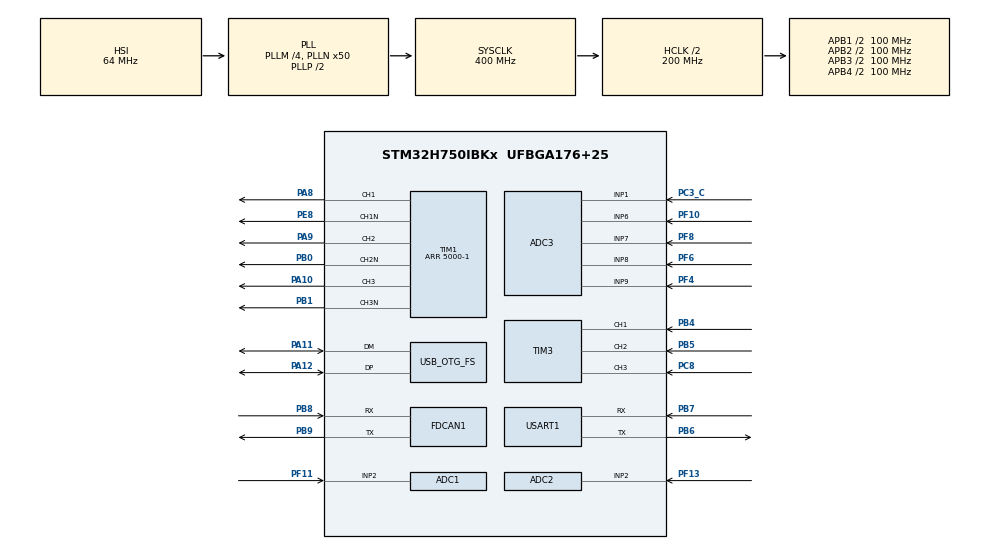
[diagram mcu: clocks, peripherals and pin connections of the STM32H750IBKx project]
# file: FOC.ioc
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ADC1.Channel-1\#ChannelRegularConversion=ADC_CHANNEL_2
ADC1.ClockPrescaler=ADC_CLOCK_ASYNC_DIV4
ADC1.NbrOfConversionFlag=1
ADC1.OffsetNumber-1\#ChannelRegularConversion=ADC_OFFSET_NONE
ADC1.OffsetSignedSaturation-1\#ChannelRegularConversion=DISABLE
ADC1.Rank-1\#ChannelRegularConversion=1
ADC1.SamplingTime-1\#ChannelRegularConversion=ADC_SAMPLETIME_1CYCLE_5
ADC1.master=1
ADC2.Channel-1\#ChannelRegularConversion=ADC_CHANNEL_2
ADC2.ClockPrescaler=ADC_CLOCK_ASYNC_DIV4
ADC2.NbrOfConversionFlag=1
ADC2.OffsetNumber-1\#ChannelRegularConversion=ADC_OFFSET_NONE
ADC2.OffsetSignedSaturation-1\#ChannelRegularConversion=DISABLE
ADC2.Rank-1\#ChannelRegularConversion=1
ADC2.SamplingTime-1\#ChannelRegularConversion=ADC_SAMPLETIME_1CYCLE_5
ADC3.Channel-1\#ChannelRegularConversion=ADC_CHANNEL_6
ADC3.ClockPrescaler=ADC_CLOCK_ASYNC_DIV4
ADC3.NbrOfConversionFlag=1
ADC3.OffsetNumber-1\#ChannelRegularConversion=ADC_OFFSET_NONE
ADC3.OffsetSignedSaturation-1\#ChannelRegularConversion=DISABLE
ADC3.Rank-1\#ChannelRegularConversion=1
ADC3.SamplingTime-1\#ChannelRegularConversion=ADC_SAMPLETIME_1CYCLE_5
CORTEX_M7.default_mode_Activation=1
DFSDM1.Filter_injChannel0_FIL0=DFSDM_CHANNEL_0
FDCAN1.CalculateBaudRateNominal=2083333
FDCAN1.CalculateTimeBitNominal=480
FDCAN1.CalculateTimeQuantumNominal=160.0
Mcu.Family=STM32H7
Mcu.Name=STM32H750IBKx
Mcu.Package=UFBGA176+25
NVIC.PriorityGroup=NVIC_PRIORITYGROUP_4
NVIC.TIM1_UP_IRQn=true\:1\:0\:true\:false\:true\:true\:true\:true
NVIC.TIM3_IRQn=true\:3\:0\:true\:false\:true\:true\:true\:true
NVIC.USART1_IRQn=true\:3\:0\:true\:false\:true\:true\:true\:true
PA10.Signal=S_TIM1_CH3
PA11.Mode=Device_Only
PA11.Signal=USB_OTG_FS_DM
PA12.Mode=Device_Only
PA12.Signal=USB_OTG_FS_DP
PA13\ (JTMS/SWDIO).Mode=Trace_Asynchronous_SW
PA13\ (JTMS/SWDIO).Signal=DEBUG_JTMS-SWDIO
PA14\ (JTCK/SWCLK).Mode=Trace_Asynchronous_SW
PA14\ (JTCK/SWCLK).Signal=DEBUG_JTCK-SWCLK
PA8.Signal=S_TIM1_CH1
PA9.Signal=S_TIM1_CH2
PB0.Mode=PWM Generation2 CH2 CH2N
PB0.Signal=TIM1_CH2N
PB1.Mode=PWM Generation3 CH3 CH3N
PB1.Signal=TIM1_CH3N
PB3\ (JTDO/TRACESWO).Mode=Trace_Asynchronous_SW
PB3\ (JTDO/TRACESWO).Signal=DEBUG_JTDO-SWO
PB4\ (NJTRST).Signal=S_TIM3_CH1
PB5.Signal=S_TIM3_CH2
PB6.Mode=Asynchronous
PB6.Signal=USART1_TX
PB7.Mode=Asynchronous
PB7.Signal=USART1_RX
PB8.Mode=FDCAN_Activate
PB8.Signal=FDCAN1_RX
PB9.Mode=FDCAN_Activate
PB9.Signal=FDCAN1_TX
PC3_C.Mode=IN1-Single-Ended
PC3_C.Signal=ADC3_INP1
PC8.Signal=S_TIM3_CH3
PE8.Mode=PWM Generation1 CH1 CH1N
PE8.Signal=TIM1_CH1N
PF10.Mode=IN6-Single-Ended
PF10.Signal=ADC3_INP6
PF11.Mode=IN2-Single-Ended
PF11.Signal=ADC1_INP2
PF13.Mode=IN2-Single-Ended
PF13.Signal=ADC2_INP2
PF4.Mode=IN9-Single-Ended
PF4.Signal=ADC3_INP9
PF6.Mode=IN8-Single-Ended
PF6.Signal=ADC3_INP8
PF8.Mode=IN7-Single-Ended
PF8.Signal=ADC3_INP7
PH0-OSC_IN\ (PH0).Mode=HSE-External-Oscillator
PH0-OSC_IN\ (PH0).Signal=RCC_OSC_IN
PH1-OSC_OUT\ (PH1).Mode=HSE-External-Oscillator
PH1-OSC_OUT\ (PH1).Signal=RCC_OSC_OUT
ProjectManager.HeapSize=0x200
ProjectManager.StackSize=0x400
ProjectManager.TargetToolchain=CMake
RCC.ADCFreq_Value=80000000
RCC.APB1Freq_Value=100000000
RCC.APB2Freq_Value=100000000
RCC.APB3Freq_Value=100000000
RCC.APB4Freq_Value=100000000
RCC.CortexFreq_Value=400000000
RCC.D1PPRE=RCC_APB3_DIV2
RCC.D2PPRE1=RCC_APB1_DIV2
RCC.D2PPRE2=RCC_APB2_DIV2
RCC.D3PPRE=RCC_APB4_DIV2
RCC.DIVM1=4
RCC.DIVM2=4
RCC.DIVN1=50
RCC.DIVN2=10
RCC.DIVQ1=8
RCC.HCLKFreq_Value=200000000
RCC.HPRE=RCC_HCLK_DIV2
RCC.PLL2FRACN=0
RCC.PLL3FRACN=0
RCC.PLLFRACN=0
RCC.SYSCLKFreq_VALUE=400000000
RCC.SYSCLKSource=RCC_SYSCLKSOURCE_PLLCLK
RCC.USBCLockSelection=RCC_USBCLKSOURCE_HSI48
RCC.USBFreq_Value=48000000
SH.S_TIM1_CH1.0=TIM1_CH1,PWM Generation1 CH1 CH1N
SH.S_TIM1_CH2.0=TIM1_CH2,PWM Generation2 CH2 CH2N
SH.S_TIM1_CH3.0=TIM1_CH3,PWM Generation3 CH3 CH3N
SH.S_TIM3_CH1.0=TIM3_CH1,Xored_Inputs_Hall_Sensor_Interface
SH.S_TIM3_CH2.0=TIM3_CH2,Xored_Inputs_Hall_Sensor_Interface
SH.S_TIM3_CH3.0=TIM3_CH3,Xored_Inputs_Hall_Sensor_Interface
TIM1.AutoReloadPreload=TIM_AUTORELOAD_PRELOAD_ENABLE
TIM1.AutomaticOutput=TIM_AUTOMATICOUTPUT_ENABLE
TIM1.Break2State=TIM_BREAK2_DISABLE
TIM1.BreakState=TIM_BREAK_DISABLE
TIM1.Channel-PWM\ Generation1\ CH1\ CH1N=TIM_CHANNEL_1
TIM1.Channel-PWM\ Generation2\ CH2\ CH2N=TIM_CHANNEL_2
TIM1.Channel-PWM\ Generation3\ CH3\ CH3N=TIM_CHANNEL_3
TIM1.CounterMode=TIM_COUNTERMODE_CENTERALIGNED1
TIM1.DeadTime=200
TIM1.OffStateIDLEMode=TIM_OSSI_ENABLE
TIM1.OffStateRunMode=TIM_OSSR_ENABLE
TIM1.Period=5000-1
TIM1.Pulse-PWM\ Generation1\ CH1\ CH1N=2500
TIM1.Pulse-PWM\ Generation2\ CH2\ CH2N=2500
TIM1.Pulse-PWM\ Generation3\ CH3\ CH3N=2500
USART1.VirtualMode-Asynchronous=VM_ASYNC
USB_OTG_FS.VirtualMode=Device_Only
VP_DFSDM1_VS_IN0.Mode=Parallel_Input_ch0
VP_MEMORYMAP_VS_MEMORYMAP.Mode=CurAppReg
VP_TIM1_VS_ClockSourceINT.Mode=Internal
VP_TIM3_VS_ClockSourceINT.Mode=Internal
board=custom

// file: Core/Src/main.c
/* USER CODE BEGIN Header */
/**
 ******************************************************************************
 * @file           : main.c
 * @brief          : Main program body
 ******************************************************************************
 * @attention
 *
 * Copyright (c) 2025 STMicroelectronics.
 * All rights reserved.
 *
 * This software is licensed under terms that can be found in the LICENSE file
 * in the root directory of this software component.
 * If no LICENSE file comes with this software, it is provided AS-IS.
 *
 ******************************************************************************
 */
/* USER CODE END Header */
#include "main.h"
#include "adc.h"
#include "dfsdm.h"
#include "fdcan.h"
#include "memorymap.h"
#include "tim.h"
#include "usart.h"
#include "usb_otg.h"
#include "gpio.h"

/* USER CODE BEGIN Includes */
#include "stdio.h"
#include "log.h"
#include "foc.h"
#include "hall_obs.h"
/* USER CODE END Includes */

/* USER CODE BEGIN PV */
static SPWM_t spwm;
SVPWM_Handle svpwm;
HallObs g_hall;
FOC_Ctrl foc;
/* USER CODE END PV */

void SystemClock_Config(void);
void PeriphCommonClock_Config(void);
static void MPU_Config(void);

/* USER CODE BEGIN 0 */

void SWO_Print(const char *s)
{
  while (*s)
  {
    ITM_SendChar((uint32_t)(*s++)); // 使用 CMSIS 官方函数
  }
}

/* USER CODE END 0 */

int main(void)
{

  /* MPU Configuration--------------------------------------------------------*/
  MPU_Config();

  /* MCU Configuration--------------------------------------------------------*/

  /* Reset of all peripherals, Initializes the Flash interface and the Systick. */
  HAL_Init();

  /* Configure the system clock */
  SystemClock_Config();

  /* Configure the peripherals common clocks */
  PeriphCommonClock_Config();

  /* Initialize all configured peripherals */
  MX_GPIO_Init();
  MX_ADC1_Init();
  MX_ADC2_Init();
  MX_ADC3_Init();
  MX_DFSDM1_Init();
  MX_FDCAN1_Init();
  MX_TIM1_Init();
  MX_USART1_UART_Init();
  MX_USB_OTG_FS_PCD_Init();
  MX_TIM3_Init();
  /* USER CODE BEGIN 2 */
  // 打印启动信息
  LOG_INFO("System started successfully!");
  LOG_WARN("Test warning message");
  LOG_ERROR("Test error message");
  LOG_INFO("ACPR = %lu\n", (SystemCoreClock / 2000000) - 1);
  /* main.c --- 用户初始化区域 */
  SVPWM_Defaults(&svpwm);
  SVPWM_SetPolePairs(&svpwm, /*极对数*/ 7);
#ifndef SVPWM_NO_HAL
  SVPWM_AttachTimer(&svpwm, &htim1, TIM_CHANNEL_1, TIM_CHANNEL_2, TIM_CHANNEL_3);
#endif
  //由于中心对齐会跟新两次，所以触发频率更新为2*20000
  SVPWM_Init(&svpwm, /*update_rate_hz=*/40000.0f, /*init_theta=*/0.0f);
  SVPWM_Start(&svpwm);

  // 以 3S~4S 直驱、无负载为前提：
  // v_align：对齐矢量幅值（归一化）
  // t_align_s：对齐时长
  // fe_target_hz：目标电角频率（开环）
  // fe_slew_hz_per_s：频率斜坡（越大越快）
  // m_target：目标调制度
  // m_slew_per_s：m 的斜坡
  SVPWM_StartSequence(&svpwm,
                      /* v_align       */ 0.35f,
                      /* t_align_s     */ 0.50f,
                      /* fe_target_hz  */ 50.0f,
                      /* fe_slew_hz/s  */ 10.0f,
                      /* m_target      */ 0.35f,
                      /* m_slew /s     */ 1.0f);
  /* 可选：若你有母线电压测量，周期更新 */
  SVPWM_UpdateVdc(&svpwm, /*Vdc*/ 24.0f);

  HAL_UART_Transmit_IT(&huart1, (uint8_t *)"System Init Success!\r\n", 24);
  /* USER CODE END 2 */

  /* Infinite loop */
  while (1)
  {

  }
}

void SystemClock_Config(void)
{
  RCC_OscInitTypeDef RCC_OscInitStruct = {0};
  RCC_ClkInitTypeDef RCC_ClkInitStruct = {0};

  /** Supply configuration update enable
  */
  HAL_PWREx_ConfigSupply(PWR_LDO_SUPPLY);

  /** Configure the main internal regulator output voltage
  */
  __HAL_PWR_VOLTAGESCALING_CONFIG(PWR_REGULATOR_VOLTAGE_SCALE1);

  while(!__HAL_PWR_GET_FLAG(PWR_FLAG_VOSRDY)) {}

  /** Initializes the RCC Oscillators according to the specified parameters
  * in the RCC_OscInitTypeDef structure.
  */
  RCC_OscInitStruct.OscillatorType = RCC_OSCILLATORTYPE_HSI48|RCC_OSCILLATORTYPE_HSI;
  RCC_OscInitStruct.HSIState = RCC_HSI_DIV1;
  RCC_OscInitStruct.HSICalibrationValue = RCC_HSICALIBRATION_DEFAULT;
  RCC_OscInitStruct.HSI48State = RCC_HSI48_ON;
  RCC_OscInitStruct.PLL.PLLState = RCC_PLL_ON;
  RCC_OscInitStruct.PLL.PLLSource = RCC_PLLSOURCE_HSI;
  RCC_OscInitStruct.PLL.PLLM = 4;
  RCC_OscInitStruct.PLL.PLLN = 50;
  RCC_OscInitStruct.PLL.PLLP = 2;
  RCC_OscInitStruct.PLL.PLLQ = 8;
  RCC_OscInitStruct.PLL.PLLR = 2;
  RCC_OscInitStruct.PLL.PLLRGE = RCC_PLL1VCIRANGE_3;
  RCC_OscInitStruct.PLL.PLLVCOSEL = RCC_PLL1VCOWIDE;
  RCC_OscInitStruct.PLL.PLLFRACN = 0;
  if (HAL_RCC_OscConfig(&RCC_OscInitStruct) != HAL_OK)
  {
    Error_Handler();
  }

  /** Initializes the CPU, AHB and APB buses clocks
  */
  RCC_ClkInitStruct.ClockType = RCC_CLOCKTYPE_HCLK|RCC_CLOCKTYPE_SYSCLK
                              |RCC_CLOCKTYPE_PCLK1|RCC_CLOCKTYPE_PCLK2
                              |RCC_CLOCKTYPE_D3PCLK1|RCC_CLOCKTYPE_D1PCLK1;
  RCC_ClkInitStruct.SYSCLKSource = RCC_SYSCLKSOURCE_PLLCLK;
  RCC_ClkInitStruct.SYSCLKDivider = RCC_SYSCLK_DIV1;
  RCC_ClkInitStruct.AHBCLKDivider = RCC_HCLK_DIV2;
  RCC_ClkInitStruct.APB3CLKDivider = RCC_APB3_DIV2;
  RCC_ClkInitStruct.APB1CLKDivider = RCC_APB1_DIV2;
  RCC_ClkInitStruct.APB2CLKDivider = RCC_APB2_DIV2;
  RCC_ClkInitStruct.APB4CLKDivider = RCC_APB4_DIV2;

  if (HAL_RCC_ClockConfig(&RCC_ClkInitStruct, FLASH_LATENCY_2) != HAL_OK)
  {
    Error_Handler();
  }
}

void PeriphCommonClock_Config(void)
{
  RCC_PeriphCLKInitTypeDef PeriphClkInitStruct = {0};

  /** Initializes the peripherals clock
  */
  PeriphClkInitStruct.PeriphClockSelection = RCC_PERIPHCLK_ADC;
  PeriphClkInitStruct.PLL2.PLL2M = 4;
  PeriphClkInitStruct.PLL2.PLL2N = 10;
  PeriphClkInitStruct.PLL2.PLL2P = 2;
  PeriphClkInitStruct.PLL2.PLL2Q = 2;
  PeriphClkInitStruct.PLL2.PLL2R = 2;
  PeriphClkInitStruct.PLL2.PLL2RGE = RCC_PLL2VCIRANGE_3;
  PeriphClkInitStruct.PLL2.PLL2VCOSEL = RCC_PLL2VCOMEDIUM;
  PeriphClkInitStruct.PLL2.PLL2FRACN = 0;
  PeriphClkInitStruct.AdcClockSelection = RCC_ADCCLKSOURCE_PLL2;
  if (HAL_RCCEx_PeriphCLKConfig(&PeriphClkInitStruct) != HAL_OK)
  {
    Error_Handler();
  }
}

 /* MPU Configuration */

void MPU_Config(void)
{
  MPU_Region_InitTypeDef MPU_InitStruct = {0};

  /* Disables the MPU */
  HAL_MPU_Disable();

  /** Initializes and configures the Region and the memory to be protected
  */
  MPU_InitStruct.Enable = MPU_REGION_ENABLE;
  MPU_InitStruct.Number = MPU_REGION_NUMBER0;
  MPU_InitStruct.BaseAddress = 0x0;
  MPU_InitStruct.Size = MPU_REGION_SIZE_4GB;
  MPU_InitStruct.SubRegionDisable = 0x87;
  MPU_InitStruct.TypeExtField = MPU_TEX_LEVEL0;
  MPU_InitStruct.AccessPermission = MPU_REGION_NO_ACCESS;
  MPU_InitStruct.DisableExec = MPU_INSTRUCTION_ACCESS_DISABLE;
  MPU_InitStruct.IsShareable = MPU_ACCESS_SHAREABLE;
  MPU_InitStruct.IsCacheable = MPU_ACCESS_NOT_CACHEABLE;
  MPU_InitStruct.IsBufferable = MPU_ACCESS_NOT_BUFFERABLE;

  HAL_MPU_ConfigRegion(&MPU_InitStruct);
  /* Enables the MPU */
  HAL_MPU_Enable(MPU_PRIVILEGED_DEFAULT);

}

void Error_Handler(void)
{
  __disable_irq();
  while (1)
  {
  }
}
